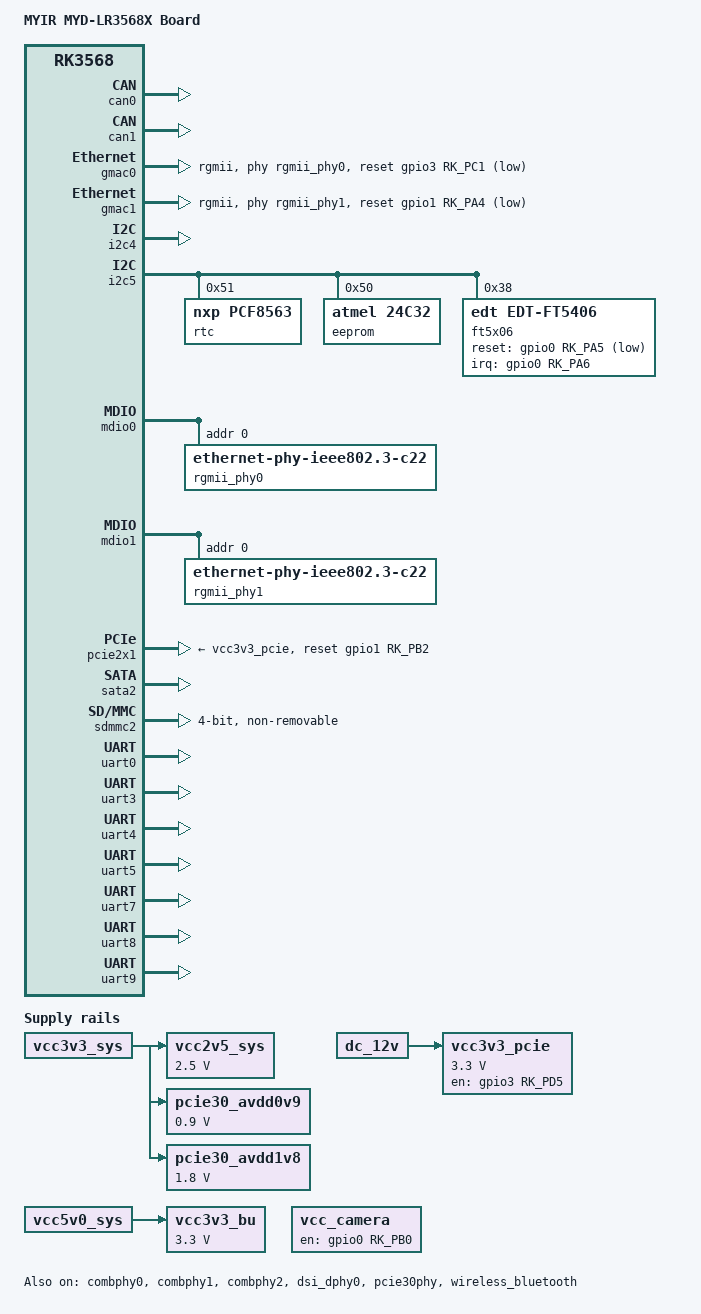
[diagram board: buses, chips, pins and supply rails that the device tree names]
// SPDX-License-Identifier: (GPL-2.0+ OR MIT)
/*
 * Copyright (c) 2020 Rockchip Electronics Co., Ltd.
 *
 */

/dts-v1/;

#include <dt-bindings/gpio/gpio.h>
#include <dt-bindings/pinctrl/rockchip.h>
// #include <dt-bindings/display/media-bus-format.h>
#include "rk3568.dtsi"
#include "rk3568-myc-lr3568.dtsi"

// From openrk tree:

#ifndef BIT
#define BIT(nr)				(1 << (nr))
#endif

#define RKPM_SLP_WFI			BIT(0)
#define RKPM_SLP_ARMOFF			BIT(1)
#define RKPM_SLP_CENTER_OFF		BIT(2)
#define RKPM_SLP_ARMOFF_LOGOFF		BIT(3)
#define RKPM_SLP_FROM_UBOOT		BIT(4)
#define RKPM_SLP_PMIC_LP		BIT(5)
#define RKPM_SLP_HW_PLLS_OFF		BIT(6)
#define RKPM_SLP_PMUALIVE_32K		BIT(7)
#define RKPM_SLP_OSC_DIS		BIT(8)
#define RKPM_SLP_32K_EXT		BIT(9)
#define RKPM_SLP_32K_PVTM		BIT(10)
/* the wake up source */
#define RKPM_CPU0_WKUP_EN		BIT(0)
#define RKPM_CPU1_WKUP_EN		BIT(1)
#define RKPM_CPU2_WKUP_EN		BIT(2)
#define RKPM_CPU3_WKUP_EN		BIT(3)
#define RKPM_GPIO_WKUP_EN		BIT(4)
#define RKPM_UART0_WKUP_EN		BIT(5)
#define RKPM_SDMMC0_WKUP_EN		BIT(6)
#define RKPM_SDMMC1_WKUP_EN		BIT(7)
#define RKPM_SDMMC2_WKUP_EN		BIT(8)
#define RKPM_USB_WKUP_EN		BIT(9)
#define RKPM_PCIE_WKUP_EN		BIT(10)
#define RKPM_VAD_WKUP_EN		BIT(11)
#define RKPM_TIMER_WKUP_EN		BIT(12)
#define RKPM_PWM0_WKUP_EN		BIT(13)
#define RKPM_TIMEOUT_WKUP_EN		BIT(14)
#define RKPM_SFT_WKUP_EN		BIT(15)
#define RKPM_USB_LINESTATE_WKUP_EN	BIT(16)

#define RKPM_SLP_LDO1_ON		BIT(0)
#define RKPM_SLP_LDO2_ON		BIT(1)
#define RKPM_SLP_LDO3_ON		BIT(2)
#define RKPM_SLP_LDO4_ON		BIT(3)
#define RKPM_SLP_LDO5_ON		BIT(4)
#define RKPM_SLP_LDO6_ON		BIT(5)
#define RKPM_SLP_LDO7_ON		BIT(6)
#define RKPM_SLP_LDO8_ON		BIT(7)
#define RKPM_SLP_LDO9_ON		BIT(8)


/ {
	model = "MYIR MYD-LR3568X Board";
	compatible = "rockchip,rk3568-evb1-ddr4-v10", "rockchip,rk3568";

	vcc2v5_sys: vcc2v5-ddr {
		compatible = "regulator-fixed";
		regulator-name = "vcc2v5-sys";
		regulator-always-on;
		regulator-boot-on;
		regulator-min-microvolt = <2500000>;
		regulator-max-microvolt = <2500000>;
		vin-supply = <&vcc3v3_sys>;
	};

	pcie30_avdd0v9: pcie30-avdd0v9 {
		compatible = "regulator-fixed";
		regulator-name = "pcie30_avdd0v9";
		regulator-always-on;
		regulator-boot-on;
		regulator-min-microvolt = <900000>;
		regulator-max-microvolt = <900000>;
		vin-supply = <&vcc3v3_sys>;
	};

	pcie30_avdd1v8: pcie30-avdd1v8 {
		compatible = "regulator-fixed";
		regulator-name = "pcie30_avdd1v8";
		regulator-always-on;
		regulator-boot-on;
		regulator-min-microvolt = <1800000>;
		regulator-max-microvolt = <1800000>;
		vin-supply = <&vcc3v3_sys>;
	};

	vcc3v3_pcie: gpio-regulator {
		compatible = "regulator-fixed";
		regulator-name = "vcc3v3_pcie";
		regulator-min-microvolt = <3300000>;
		regulator-max-microvolt = <3300000>;
		enable-active-high;
		gpio = <&gpio3 RK_PD5 GPIO_ACTIVE_HIGH>;
		startup-delay-us = <5000>;
		vin-supply = <&dc_12v>;
	};

	vcc3v3_bu: vcc3v3-bu {
		compatible = "regulator-fixed";
		regulator-name = "vcc3v3_bu";
		regulator-always-on;
		regulator-boot-on;
		regulator-min-microvolt = <3300000>;
		regulator-max-microvolt = <3300000>;
		vin-supply = <&vcc5v0_sys>;
	};

	vcc_camera: vcc-camera-regulator {
		compatible = "regulator-fixed";
		gpio = <&gpio0 RK_PB0 GPIO_ACTIVE_HIGH>;
		pinctrl-names = "default";
		pinctrl-0 = <&camera_pwr>;
		regulator-name = "vcc_camera";
		enable-active-high;
		regulator-always-on;
		regulator-boot-on;
	};

	clk_ov5640_fixed: clock {
		compatible = "fixed-clock";
		#clock-cells = <0>;
		clock-frequency = <24000000>;
		clock-output-names = "CLK_CAMERA_24MHZ";
	};

	clk_ov5645_fixed: clock {
		compatible = "fixed-clock";
		#clock-cells = <0>;
		clock-frequency = <24000000>;
		clock-output-names = "CLK_CAMERA_24MHZ";
	};

	clk_ov13855_fixed: clock {
		compatible = "fixed-clock";
		#clock-cells = <0>;
		clock-frequency = <24000000>;
		clock-output-names = "CLK_CAMERA_24MHZ";
	};


	/* dsi0: dsi@fe060000 {
		compatible = "rockchip,rk3568-mipi-dsi";
		reg = <0x0 0xfe060000 0x0 0x10000>;
		interrupts = <GIC_SPI 68 IRQ_TYPE_LEVEL_HIGH>;
		clocks = <&cru PCLK_DSITX_0>, <&cru HCLK_VO>;
		clock-names = "pclk", "hclk";
		resets = <&cru SRST_P_DSITX_0>;
		reset-names = "apb";
		phys = <&dsi_dphy0>;
		phy-names = "dphy";
		power-domains = <&power RK3568_PD_VO>;
		rockchip,grf = <&grf>;
		#address-cells = <1>;
		#size-cells = <0>;
		status = "disabled";

		ports {
			#address-cells = <1>;
			#size-cells = <0>;

			dsi0_in: port@0 {
				reg = <0>;
				#address-cells = <1>;
				#size-cells = <0>;

				dsi0_in_vp0: endpoint@0 {
					reg = <0>;
					remote-endpoint = <&vp0_out_dsi0>;
					status = "disabled";
				};

				dsi0_in_vp1: endpoint@1 {
					reg = <1>;
					remote-endpoint = <&vp1_out_dsi0>;
					status = "disabled";
				};
			};
		};
	};

	dsi1: dsi@fe070000 {
		compatible = "rockchip,rk3568-mipi-dsi";
		reg = <0x0 0xfe070000 0x0 0x10000>;
		interrupts = <GIC_SPI 69 IRQ_TYPE_LEVEL_HIGH>;
		clocks = <&cru PCLK_DSITX_1>, <&cru HCLK_VO>;
		clock-names = "pclk", "hclk";
		resets = <&cru SRST_P_DSITX_1>;
		reset-names = "apb";
		phys = <&video_phy1>;
		phy-names = "dphy";
		power-domains = <&power RK3568_PD_VO>;
		rockchip,grf = <&grf>;
		#address-cells = <1>;
		#size-cells = <0>;
		status = "disabled";

		ports {
			#address-cells = <1>;
			#size-cells = <0>;

			dsi1_in: port@0 {
				reg = <0>;
				#address-cells = <1>;
				#size-cells = <0>;

				dsi1_in_vp0: endpoint@0 {
					reg = <0>;
					remote-endpoint = <&vp0_out_dsi1>;
					status = "disabled";
				};

				dsi1_in_vp1: endpoint@1 {
					reg = <1>;
					remote-endpoint = <&vp1_out_dsi1>;
					status = "disabled";
				};
			};
		};
	};

	hdmi: hdmi@fe0a0000 {
		compatible = "rockchip,rk3568-dw-hdmi";
		reg = <0x0 0xfe0a0000 0x0 0x20000>;
		interrupts = <GIC_SPI 45 IRQ_TYPE_LEVEL_HIGH>;
		clocks = <&cru PCLK_HDMI_HOST>,
			 <&cru CLK_HDMI_SFR>,
			 <&cru CLK_HDMI_CEC>,
			 <&pmucru PLL_HPLL>,
			 <&cru HCLK_VOP>;
		clock-names = "iahb", "isfr", "cec", "ref", "hclk";
		power-domains = <&power RK3568_PD_VO>;
		reg-io-width = <4>;
		rockchip,grf = <&grf>;
		#sound-dai-cells = <0>;
		pinctrl-names = "default";
		pinctrl-0 = <&hdmitx_scl &hdmitx_sda &hdmitxm0_cec>;
		status = "disabled";

		ports {
			#address-cells = <1>;
			#size-cells = <0>;

			port@0 {
				reg = <0>;
				#address-cells = <1>;
				#size-cells = <0>;

				hdmi_in_vp0: endpoint@0 {
					reg = <0>;
					remote-endpoint = <&vp0_out_hdmi>;
					status = "disabled";
				};

				hdmi_in_vp1: endpoint@1 {
					reg = <1>;
					remote-endpoint = <&vp1_out_hdmi>;
					status = "disabled";
				};
			};
		};
	};

	edp: edp@fe0c0000 {
		compatible = "rockchip,rk3568-edp";
		reg = <0x0 0xfe0c0000 0x0 0x10000>;
		interrupts = <GIC_SPI 18 IRQ_TYPE_LEVEL_HIGH>;
		clocks = <&pmucru XIN_OSC0_EDPPHY_G>, <&cru PCLK_EDP_CTRL>,
			 <&cru CLK_EDP_200M>, <&cru HCLK_VO>;
		clock-names = "dp", "pclk", "spdif", "hclk";
		resets = <&cru SRST_EDP_24M>, <&cru SRST_P_EDP_CTRL>;
		reset-names = "dp", "apb";
		phys = <&edp_phy>;
		phy-names = "dp";
		power-domains = <&power RK3568_PD_VO>;
		status = "disabled";

		ports {
			#address-cells = <1>;
			#size-cells = <0>;

			edp_in: port@0 {
				reg = <0>;
				#address-cells = <1>;
				#size-cells = <0>;

				edp_in_vp0: endpoint@0 {
					reg = <0>;
					remote-endpoint = <&vp0_out_edp>;
					status = "disabled";
				};

				edp_in_vp1: endpoint@1 {
					reg = <1>;
					remote-endpoint = <&vp1_out_edp>;
					status = "disabled";
				};
			};
		};
	};*/

/*
	lvds_panel: lvds-panel {
		compatible = "simple-panel";
		backlight = <&backlight>;
		power-supply = <&vcc5v0_sys>;
		enable-delay-ms = <20>;
		prepare-delay-ms = <20>;
		unprepare-delay-ms = <20>;
		disable-delay-ms = <20>;
		bus-format = <MEDIA_BUS_FMT_RGB888_1X7X4_SPWG>;
		// width-mm = <230>;
		// height-mm = <150>;
		width-mm = <154>;
		height-mm = <85>;

		display-timings {
			native-mode = <&lvds_timing1>;

			lvds_timing0: timing0 {
				clock-frequency = <71100000>;
				hactive = <1280>;
				vactive = <800>;
				hback-porch = <80>;
				hfront-porch = <70>;
				vback-porch = <10>;
				vfront-porch = <10>;
				hsync-len = <10>;
				vsync-len = <3>;
				hsync-active = <0>;
				vsync-active = <0>;
				de-active = <0>;
				pixelclk-active = <0>;
			};

			lvds_timing1: timing1 {
				clock-frequency = <50000000>;
				hactive = <1024>;
				vactive = <600>;
				hback-porch = <176>;
				hfront-porch = <88>;
				vback-porch = <20>;
				vfront-porch = <25>;
				hsync-len = <6>;
				vsync-len = <5>;
				hsync-active = <0>;
				vsync-active = <0>;
				de-active = <0>;
				pixelclk-active = <0>;
			};
		};

		ports {
			#address-cells = <1>;
			#size-cells = <0>;

			port@0 {
				reg = <0>;
				panel_in_lvds: endpoint {
						remote-endpoint = <&lvds_out_panel>;
				};
			};
		};
	};
*/

	can0: can@fe570000 {
		compatible = "rockchip,rk3568-can-2.0";
		reg = <0x0 0xfe570000 0x0 0x1000>;
		interrupts = <GIC_SPI 1 IRQ_TYPE_LEVEL_HIGH>;
		clocks = <&cru CLK_CAN0>, <&cru PCLK_CAN0>;
		clock-names = "baudclk", "apb_pclk";
		resets = <&cru SRST_CAN0>, <&cru SRST_P_CAN0>;
		reset-names = "can", "can-apb";
		tx-fifo-depth = <1>;
		rx-fifo-depth = <6>;
		status = "disabled";
	};

	can1: can@fe580000 {
		compatible = "rockchip,rk3568-can-2.0";
		reg = <0x0 0xfe580000 0x0 0x1000>;
		interrupts = <GIC_SPI 2 IRQ_TYPE_LEVEL_HIGH>;
		clocks = <&cru CLK_CAN1>, <&cru PCLK_CAN1>;
		clock-names = "baudclk", "apb_pclk";
		resets = <&cru SRST_CAN1>, <&cru SRST_P_CAN1>;
		reset-names = "can", "can-apb";
		tx-fifo-depth = <1>;
		rx-fifo-depth = <6>;
		status = "disabled";
	};

	can2: can@fe590000 {
		compatible = "rockchip,rk3568-can-2.0";
		reg = <0x0 0xfe590000 0x0 0x1000>;
		interrupts = <GIC_SPI 3 IRQ_TYPE_LEVEL_HIGH>;
		clocks = <&cru CLK_CAN2>, <&cru PCLK_CAN2>;
		clock-names = "baudclk", "apb_pclk";
		resets = <&cru SRST_CAN2>, <&cru SRST_P_CAN2>;
		reset-names = "can", "can-apb";
		tx-fifo-depth = <1>;
		rx-fifo-depth = <6>;
		status = "disabled";
	};

	reserved_memory: reserved-memory {
		#address-cells = <2>;
		#size-cells = <2>;
		ranges;

		drm_logo: drm-logo@0 {
			compatible = "rockchip,drm-logo";
			reg = <0x0 0x0 0x0 0x0>;
		};

		drm_cubic_lut: drm-cubic-lut@0 {
			compatible = "rockchip,drm-cubic-lut";
			reg = <0x0 0x0 0x0 0x0>;
		};
	};

	rockchip_suspend: rockchip-suspend {
		compatible = "rockchip,pm-rk3568";
		status = "disabled";
		rockchip,sleep-debug-en = <1>;
		rockchip,sleep-mode-config = <
			(0
			| RKPM_SLP_ARMOFF_LOGOFF
			| RKPM_SLP_CENTER_OFF
			| RKPM_SLP_HW_PLLS_OFF
			| RKPM_SLP_PMUALIVE_32K
			| RKPM_SLP_OSC_DIS
			| RKPM_SLP_PMIC_LP
			| RKPM_SLP_32K_PVTM
			)
		>;
		rockchip,wakeup-config = <
			(0
			| RKPM_GPIO_WKUP_EN
			)
		>;
	};

};

&combphy0 {
	status = "okay";
};

&combphy1 {
	status = "okay";
};

&combphy2 {
	status = "okay";
};

/*
&csi2_dphy_hw {
	status = "okay";
};

&csi2_dphy0 {
	status = "okay";

	ports {
		#address-cells = <1>;
		#size-cells = <0>;
		port@0 {
			reg = <0>;
			#address-cells = <1>;
			#size-cells = <0>;

			mipi_in_ucam0: endpoint@1 {
				reg = <1>;
				remote-endpoint = <&ov13855_out>;
				data-lanes = <1 2 3 4>;
			};
			mipi_in_ucam1: endpoint@2 {
				reg = <2>;
				remote-endpoint = <&ov5645_out>;
				data-lanes = <1 2>;
			};
			mipi_in_ucam2: endpoint@3 {
				reg = <3>;
				remote-endpoint = <&ov5640_out>;
				data-lanes = <1 2>;
			};
		};
		port@1 {
			reg = <1>;
			#address-cells = <1>;
			#size-cells = <0>;

			csidphy_out: endpoint@0 {
				reg = <0>;
				remote-endpoint = <&isp0_in>;
			};
		};
	};
};

&lvds_in_vp2 {
	status = "okay";
};

&route_lvds {
	status = "okay";
	connect = <&vp2_out_lvds>;
};

&lvds {
	status = "okay";

	ports {
		#address-cells = <1>;
		#size-cells = <0>;

		port@1 {
			reg = <1>;
			lvds_out_panel: endpoint {
				remote-endpoint = <&panel_in_lvds>;
			};
		};
	};
};
*/
/*
 * dsi_dphy0 needs to be enabled
 * when dsi0 is enabled
 */
&dsi0 {
	status = "disabled";
};

/*&dsi0_in_vp0 {
	status = "disabled";
};

&dsi0_in_vp1 {
	status = "disabled";
};

&edp {
	hpd-gpios = <&gpio4 RK_PC4 GPIO_ACTIVE_HIGH>;
	status = "okay";
};

&edp_phy {
	status = "okay";
};

&edp_in_vp0 {
	status = "disabled";
};

&edp_in_vp1 {
	status = "okay";
};*/

&gmac0 {
	phy-mode = "rgmii";
	clock_in_out = "output";

	snps,reset-gpio = <&gpio3 RK_PC1 GPIO_ACTIVE_LOW>;
	snps,reset-active-low;
	/* Reset time is 20ms, 100ms for rtl8211f */
	snps,reset-delays-us = <0 20000 100000>;

	assigned-clocks = <&cru SCLK_GMAC0_RX_TX>, <&cru SCLK_GMAC0>;
	assigned-clock-parents = <&cru SCLK_GMAC0_RGMII_SPEED>, <&cru CLK_MAC0_2TOP>;
	assigned-clock-rates = <0>, <125000000>;

	pinctrl-names = "default";
	pinctrl-0 = <&gmac0_miim
		     &gmac0_tx_bus2
		     &gmac0_rx_bus2
		     &gmac0_rgmii_clk
		     &gmac0_rgmii_bus>;

	tx_delay = <0x27>;
	rx_delay = <0x31>;

	phy-handle = <&rgmii_phy0>;
	status = "okay";
};

&gmac1 {
	phy-mode = "rgmii";
	clock_in_out = "output";

	snps,reset-gpio = <&gpio1 RK_PA4 GPIO_ACTIVE_LOW>;
	snps,reset-active-low;
	/* Reset time is 20ms, 100ms for rtl8211f */
	snps,reset-delays-us = <0 20000 100000>;

	assigned-clocks = <&cru SCLK_GMAC1_RX_TX>, <&cru SCLK_GMAC1>;
	assigned-clock-parents = <&cru SCLK_GMAC1_RGMII_SPEED>, <&cru CLK_MAC1_2TOP>;
	assigned-clock-rates = <0>, <125000000>;

	pinctrl-names = "default";
	pinctrl-0 = <&gmac1m1_miim
		     &gmac1m1_tx_bus2
		     &gmac1m1_rx_bus2
		     &gmac1m1_rgmii_clk
		     &gmac1m1_rgmii_bus>;

	tx_delay = <0x29>;
	rx_delay = <0x24>;

	phy-handle = <&rgmii_phy1>;
	status = "okay";
};

/*
 * power-supply should switche to vcc3v3_lcd1_n
 * when mipi panel is connected to dsi1.
 */
&gt1x {
	power-supply = <&vcc3v3_lcd0_n>;
	status = "disabled";
};

&i2c4 {
	status = "okay";
/*
	ov13855: ov13855@36 {
		status = "okay";
		compatible = "ovti,ov13855";
		reg = <0x36>;
		clocks = <&clk_ov13855_fixed>;
		clock-names = "xvclk";
		clock-frequency = <24000000>;
		power-domains = <&power RK3568_PD_VI>;
		reset-gpios = <&gpio2 RK_PC2 GPIO_ACTIVE_HIGH>;
		pwdn-gpios = <&gpio4 RK_PC1 GPIO_ACTIVE_HIGH>;
		rockchip,camera-module-index = <0>;
		rockchip,camera-module-facing = "back";
		rockchip,camera-module-name = "NC";
		rockchip,camera-module-lens-name = "NC";

		port {
			ov13855_out: endpoint {
				remote-endpoint = <&mipi_in_ucam0>;
				data-lanes = <1 2 3 4>;
			};
		};
	};

	ov5645: ov5645@3c {
		status = "okay";
		compatible = "ovti,ov5645";
		reg = <0x3c>;
		clocks = <&clk_ov5645_fixed>;
		clock-names = "xclk";
		clock-frequency = <24000000>;
		power-domains = <&power RK3568_PD_VI>;
		reset-gpios = <&gpio2 RK_PC2 GPIO_ACTIVE_LOW>;
		enable-gpios = <&gpio4 RK_PC1 GPIO_ACTIVE_HIGH>;
		rockchip,camera-module-index = <0>;
		rockchip,camera-module-facing = "back";
		rockchip,camera-module-name = "NC";
		rockchip,camera-module-lens-name = "NC";

		port {
			ov5645_out: endpoint {
				remote-endpoint = <&mipi_in_ucam1>;
				data-lanes = <1 2>;
			};
		};
	};

	ov5640: ov5640@3c {
		status = "okay";
		compatible = "ovti,ov5640";
		reg = <0x3c>;
		clocks = <&clk_ov5640_fixed>;
		clock-names = "xclk";
		clock-frequency = <24000000>;
		power-domains = <&power RK3568_PD_VI>;
		reset-gpios = <&gpio2 RK_PC2 GPIO_ACTIVE_LOW>;
		powerdown-gpios = <&gpio4 RK_PC1 GPIO_ACTIVE_HIGH>;
		rockchip,camera-module-index = <0>;
		rockchip,camera-module-facing = "back";
		rockchip,camera-module-name = "NC";
		rockchip,camera-module-lens-name = "NC";

		port {
			ov5640_out: endpoint {
				remote-endpoint = <&mipi_in_ucam2>;
				clock-lanes = <0>;
				data-lanes = <1 2>;
			};
		};
	};
*/
};

&i2c5 {
	status = "okay";

	rtc: rtc8563@51 {
		compatible = "nxp,pcf8563";
		reg = <0x51>;
	};

	eeprom: flash@50 {
		compatible = "atmel,24c32";
		reg = <0x50>;
	};

	/*lvds_touch: gt911@14 {
		compatible = "goodix,gt9xx";
		reg = <0x14>;
		pinctrl-names = "default";
		pinctrl-0 = <&lvds_touch_gpio>;
		touch-gpio = <&gpio0 RK_PA6 IRQ_TYPE_LEVEL_LOW>;
		reset-gpio = <&gpio0 RK_PA5 GPIO_ACTIVE_HIGH>;
		max-x = <1280>;
		max-y = <800>;
		tp-size = <911>;
		tp-supply = <&vcc5v0_sys>;
		wakeup-source;
		goodix-ts-name = "lvds_ts_gt9xx";
		status = "okay";
	};*/

	ft5x06: ft5x06@38 {
		compatible = "edt,edt-ft5406";
		reg = <0x38>;
		pinctrl-names = "default";
		pinctrl-0 = <&lvds_touch_gpio>;
		interrupt-parent = <&gpio0>;
		interrupts = <RK_PA6 IRQ_TYPE_EDGE_FALLING>;
		reset-gpios = <&gpio0 RK_PA5 GPIO_ACTIVE_LOW>;
		touchscreen-size-x=<1024>;
		touchscreen-size-y=<600>;
		status = "okay";
    };
};

&mdio0 {
	rgmii_phy0: phy@0 {
		compatible = "ethernet-phy-ieee802.3-c22";
		reg = <0x0>;
	};
};

&mdio1 {
	rgmii_phy1: phy@0 {
		compatible = "ethernet-phy-ieee802.3-c22";
		reg = <0x0>;
	};
};

&dsi_dphy0 {
	status = "okay";
};

&pcie30phy {
	status = "okay";
};

&pcie3x2 {
	reset-gpios = <&gpio2 RK_PD6 GPIO_ACTIVE_HIGH>;
	vpcie3v3-supply = <&vcc3v3_pcie>;
	status = "disabled";
};

&pcie2x1 {
	reset-gpios = <&gpio1 RK_PB2 GPIO_ACTIVE_HIGH>;
	vpcie3v3-supply = <&vcc3v3_pcie>;
	status = "okay";
};

&pinctrl {
	cam {
		camera_pwr: camera-pwr {
			rockchip,pins =
				/* camera power en */
				<0 RK_PB0 RK_FUNC_GPIO &pcfg_pull_none>;
		};
	};
	headphone {
		hp_det: hp-det {
			rockchip,pins = <3 RK_PA2 RK_FUNC_GPIO &pcfg_pull_down>;
		};
	};

	wireless-wlan {
		wifi_host_wake_irq: wifi-host-wake-irq {
			rockchip,pins = <0 RK_PD4 RK_FUNC_GPIO &pcfg_pull_down>;
		};
	};

	wireless-bluetooth {
		uart8_gpios: uart8-gpios {
			rockchip,pins = <2 RK_PB1 RK_FUNC_GPIO &pcfg_pull_none>;
		};
	};

	touch {
		lvds_touch_gpio: lvds-touch-gpio {
			rockchip,pins =
				<0 RK_PA5 RK_FUNC_GPIO &pcfg_pull_up>,
				<0 RK_PA6 RK_FUNC_GPIO &pcfg_pull_none>;
		};
	};
};

/* &pmugrf {
	reboot_mode: reboot-mode {
		compatible = "syscon-reboot-mode";
		offset = <0x200>;
		mode-bootloader = <BOOT_BL_DOWNLOAD>;
		mode-charge = <BOOT_CHARGING>;
		mode-fastboot = <BOOT_FASTBOOT>;
		mode-loader = <BOOT_BL_DOWNLOAD>;
		mode-normal = <BOOT_NORMAL>;
		mode-recovery = <BOOT_RECOVERY>;
		mode-ums = <BOOT_UMS>;
		mode-panic = <BOOT_PANIC>;
		mode-watchdog = <BOOT_WATCHDOG>;
	};
};*/
// &rk809_sound {
// 	hp-det-gpio = <&gpio3 RK_PA2 GPIO_ACTIVE_HIGH>;
// };

/*
&rkisp {
	status = "okay";
};

&rkisp_mmu {
	status = "okay";
};

&rkisp_vir0 {
	status = "okay";

	port {
		#address-cells = <1>;
		#size-cells = <0>;

		isp0_in: endpoint@0 {
			reg = <0>;
			remote-endpoint = <&csidphy_out>;
		};
	};
};

&route_dsi0 {
	status = "disabled";
	connect = <&vp1_out_dsi0>;
};

&route_edp {
	status = "okay";
	connect = <&vp1_out_edp>;
};
*/

&sata2 {
	status = "okay";
};

&sdmmc2 {
	max-frequency = <150000000>;
	no-sd;
	no-mmc;
	bus-width = <4>;
	disable-wp;
	cap-sd-highspeed;
	cap-sdio-irq;
	keep-power-in-suspend;
	mmc-pwrseq = <&sdio_pwrseq>;
	non-removable;
	pinctrl-names = "default";
	pinctrl-0 = <&sdmmc2m0_bus4 &sdmmc2m0_cmd &sdmmc2m0_clk>;
	sd-uhs-sdr104;
	status = "okay";
};

&uart0 {
	status = "okay";
	pinctrl-names = "default";
	pinctrl-0 = <&uart0_xfer>;
};

&uart3 {
	status = "okay";
	pinctrl-names = "default";
	pinctrl-0 = <&uart3m0_xfer>;
};

&uart4 {
	status = "okay";
	pinctrl-names = "default";
	pinctrl-0 = <&uart4m1_xfer>;
};

&uart5 {
	status = "okay";
	pinctrl-names = "default";
	pinctrl-0 = <&uart5m1_xfer>;
};

&uart7 {
	status = "okay";
	pinctrl-names = "default";
	pinctrl-0 = <&uart7m1_xfer>;
};

&uart8 {
	status = "okay";
	pinctrl-names = "default";
	pinctrl-0 = <&uart8m0_xfer &uart8m0_ctsn>;
};

&uart9 {
	status = "okay";
	pinctrl-names = "default";
	pinctrl-0 = <&uart9m1_xfer>;
};

&can0 {
	status = "okay";
	assigned-clocks = <&cru CLK_CAN0>;
	assigned-clock-rates = <200000000>;
	pinctrl-names = "default";
	pinctrl-0 = <&can0m0_pins>;
};

&can1 {
	status = "okay";
	assigned-clocks = <&cru CLK_CAN1>;
	assigned-clock-rates = <200000000>;
	pinctrl-names = "default";
	pinctrl-0 = <&can1m1_pins>;
};

&vcc3v3_lcd0_n {
	gpio = <&gpio0 RK_PC7 GPIO_ACTIVE_HIGH>;
	enable-active-high;
	status = "disabled";
};

&vcc3v3_lcd1_n {
	gpio = <&gpio0 RK_PC5 GPIO_ACTIVE_HIGH>;
	enable-active-high;
	status = "disabled";
};

&wireless_bluetooth {
	compatible = "bluetooth-platdata";
	clocks = <&rk809 1>;
	clock-names = "ext_clock";
	//wifi-bt-power-toggle;
	uart_rts_gpios = <&gpio2 RK_PB1 GPIO_ACTIVE_LOW>;
	pinctrl-names = "default", "rts_gpio";
	pinctrl-0 = <&uart8m0_rtsn>;
	pinctrl-1 = <&uart8_gpios>;
	BT,reset_gpio    = <&gpio2 RK_PC1 GPIO_ACTIVE_HIGH>;
	BT,wake_gpio     = <&gpio0 RK_PD5 GPIO_ACTIVE_HIGH>;
	BT,wake_host_irq = <&gpio0 RK_PD6 GPIO_ACTIVE_HIGH>;
	status = "okay";
};
